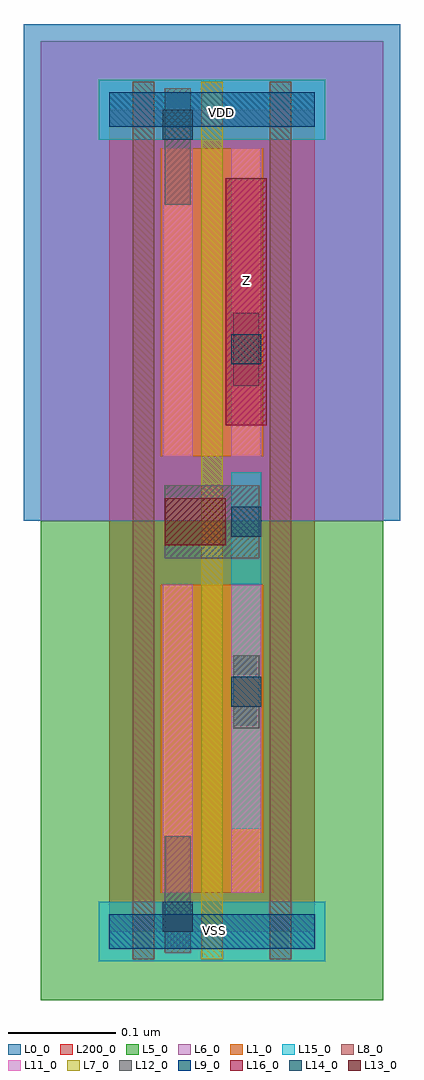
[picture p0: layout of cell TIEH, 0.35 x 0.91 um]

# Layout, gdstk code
import gdstk
lib = gdstk.Library(unit=1e-6, precision=1e-09)
def R(c, l, rs):  # rectangles x0, y0, x1, y1
    for r in rs: c.add(gdstk.rectangle(r[:2], r[2:], *l))
L0_0 = (0, 0)
L1_0 = (1, 0)
L5_0 = (5, 0)
L6_0 = (6, 0)
L7_0 = (7, 0)
L8_0 = (8, 0)
L9_0 = (9, 0)
L11_0 = (11, 0)
L12_0 = (12, 0)
L13_0 = (13, 0)
L14_0 = (14, 0)
L15_0 = (15, 0)
L16_0 = (16, 0)
L200_0 = (200, 0)

tieh = lib.new_cell('TIEH')
R(tieh, L0_0, [(-0.08,0.384,0.272,0.848)])
R(tieh, L1_0, [(0.048,0.036,0.144,0.324), (0.048,0.444,0.144,0.732)])
R(tieh, L5_0, [(-0.064,-0.064,0.256,0.384)])
R(tieh, L6_0, [(-0.064,0.384,0.256,0.832)])
R(tieh, L7_0, [(0.086,-0.026,0.106,0.794)])
R(tieh, L8_0, [(0.022,-0.026,0.042,0.794), (0.15,-0.026,0.17,0.794)])
R(tieh, L9_0, [(0,-0.016,0.192,0.016), (0,0.752,0.192,0.784)])
R(tieh, L11_0, [(0.05,0.036,0.078,0.324), (0.114,0.036,0.142,0.324), (0.05,0.444,0.078,0.732), (0.114,0.444,0.142,0.732)])
R(tieh, L12_0, [(0.052,-0.02,0.076,0.089), (0.116,0.19,0.14,0.258), (0.052,0.349,0.14,0.417), (0.116,0.51,0.14,0.578), (0.052,0.679,0.076,0.788)])
R(tieh, L13_0, [(0.052,0.361,0.109,0.405)])
R(tieh, L14_0, [(0.05,0,0.078,0.028), (0.114,0.21,0.142,0.238), (0.114,0.369,0.142,0.397), (0.114,0.53,0.142,0.558), (0.05,0.74,0.078,0.768)])
R(tieh, L15_0, [(-0.01,-0.028,0.202,0.028), (0.114,0.096,0.142,0.429), (-0.01,0.74,0.202,0.796)])
R(tieh, L16_0, [(0.109,0.473,0.147,0.704)])
R(tieh, L200_0, [(0,0,0.192,0.768)])
tieh.add(gdstk.Label('VSS', (0.098,0.001), layer=15, texttype=20))
tieh.add(gdstk.Label('VDD', (0.105,0.765), layer=15, texttype=20))
tieh.add(gdstk.Label('Z', (0.128,0.608), layer=16, texttype=20))

lib.write_gds('TIEH.gds')
